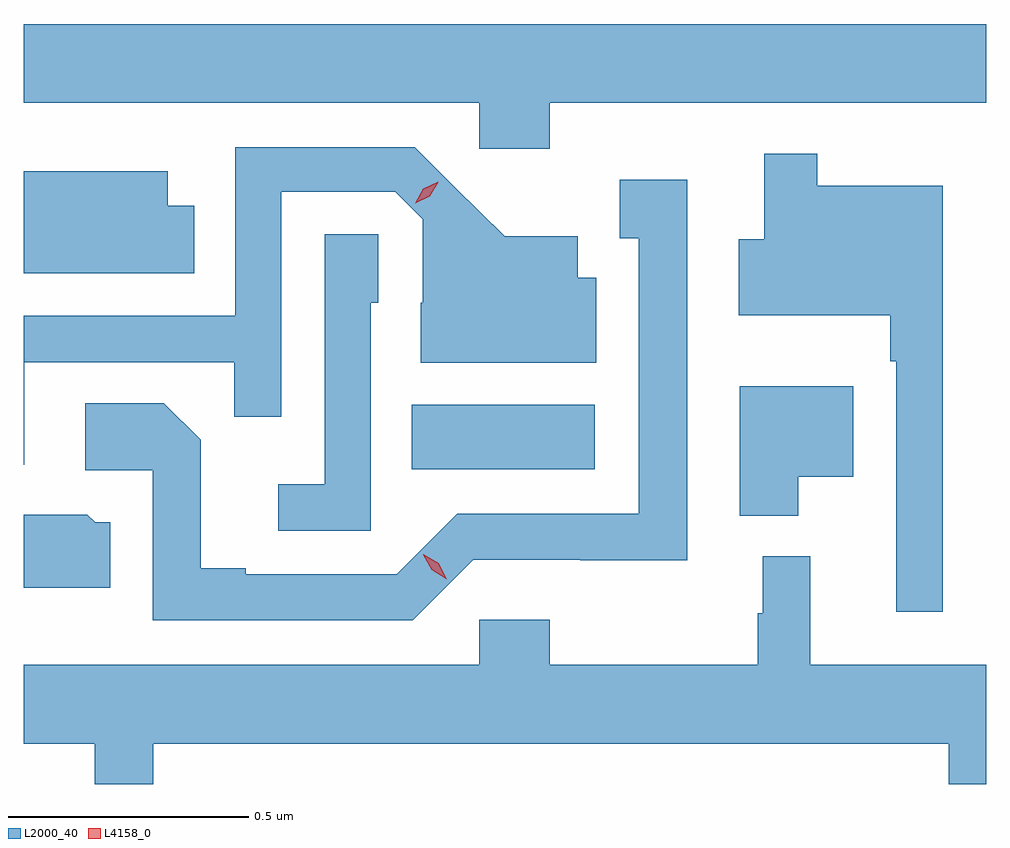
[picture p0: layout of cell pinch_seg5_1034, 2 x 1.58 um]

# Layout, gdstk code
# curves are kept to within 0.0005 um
import gdstk
lib = gdstk.Library(unit=1e-6, precision=1e-09)
def R(c, l, rs):  # rectangles x0, y0, x1, y1
    for r in rs: c.add(gdstk.rectangle(r[:2], r[2:], *l))
def P(c, l, *ps):  # polygons
    for p in ps: c.add(gdstk.Polygon(p, *l))
L2000_40 = (2000, 40)
L4158_0 = (4158, 0)

pinch_seg5_1034 = lib.new_cell('pinch_seg5_1034')
R(pinch_seg5_1034, L2000_40, [(695.254,838.682,695.635,838.816)])
P(pinch_seg5_1034, L2000_40, [(695.541,839.444),(696.448,839.444),(696.448,839.608),(694.448,839.608),(694.448,839.444),(695.394,839.444),(695.394,839.349),(695.541,839.349)],
  [(694.449,838.905),(694.885,838.905),(694.885,838.792),(694.983,838.792),(694.983,839.259),(695.22,839.259),(695.277,839.202),(695.277,839.028),(695.273,839.028),(695.273,838.904),(695.638,838.904),(695.638,839.08),(695.599,839.08),(695.599,839.167),(695.447,839.167),(695.26,839.352),(694.887,839.352),(694.887,839.001),(694.448,839.001),(694.448,838.692),(694.449,838.692)],
  [(696.358,839.272),(696.097,839.272),(696.097,839.338),(695.987,839.338),(695.987,839.161),(695.934,839.161),(695.934,839.003),(696.249,839.003),(696.249,838.907),(696.261,838.907),(696.261,838.386),(696.358,838.386)],
  [(694.802,839.23),(694.747,839.23),(694.747,839.302),(694.448,839.302),(694.448,839.09),(694.802,839.09)],
  [(695.382,838.494),(695.604,838.494),(695.604,838.493),(695.827,838.493),(695.827,839.284),(695.687,839.284),(695.687,839.163),(695.726,839.163),(695.726,838.59),(695.349,838.59),(695.223,838.464),(694.909,838.464),(694.909,838.477),(694.815,838.477),(694.815,838.744),(694.739,838.82),(694.575,838.82),(694.575,838.68),(694.716,838.68),(694.716,838.368),(695.256,838.368)],
  [(695.169,839.028),(695.184,839.028),(695.184,839.171),(695.073,839.171),(695.073,838.651),(694.977,838.651),(694.977,838.554),(695.169,838.554)],
  [(696.058,838.667),(696.172,838.667),(696.172,838.855),(695.936,838.855),(695.936,838.586),(696.058,838.586)],
  [(694.627,838.572),(694.596,838.572),(694.58,838.588),(694.448,838.588),(694.448,838.436),(694.627,838.436)],
  [(694.717,838.112),(696.371,838.112),(696.371,838.028),(696.448,838.028),(696.448,838.276),(696.083,838.276),(696.083,838.501),(695.984,838.501),(695.984,838.383),(695.973,838.383),(695.973,838.276),(695.541,838.276),(695.541,838.369),(695.394,838.369),(695.394,838.276),(694.448,838.276),(694.448,838.112),(694.595,838.112),(694.595,838.028),(694.717,838.028)])
P(pinch_seg5_1034, L4158_0, [(695.327,838.454),(695.296,838.473),(695.278,838.505),(695.278,838.506),(695.278,838.506),(695.31,838.487),(695.327,838.454),(695.327,838.454)],
  [(695.261,839.235),(695.261,839.235),(695.278,839.265),(695.309,839.28),(695.309,839.28),(695.309,839.279),(695.292,839.25),(695.261,839.235)])

lib.write_gds('pinch_seg5_1034.gds')
